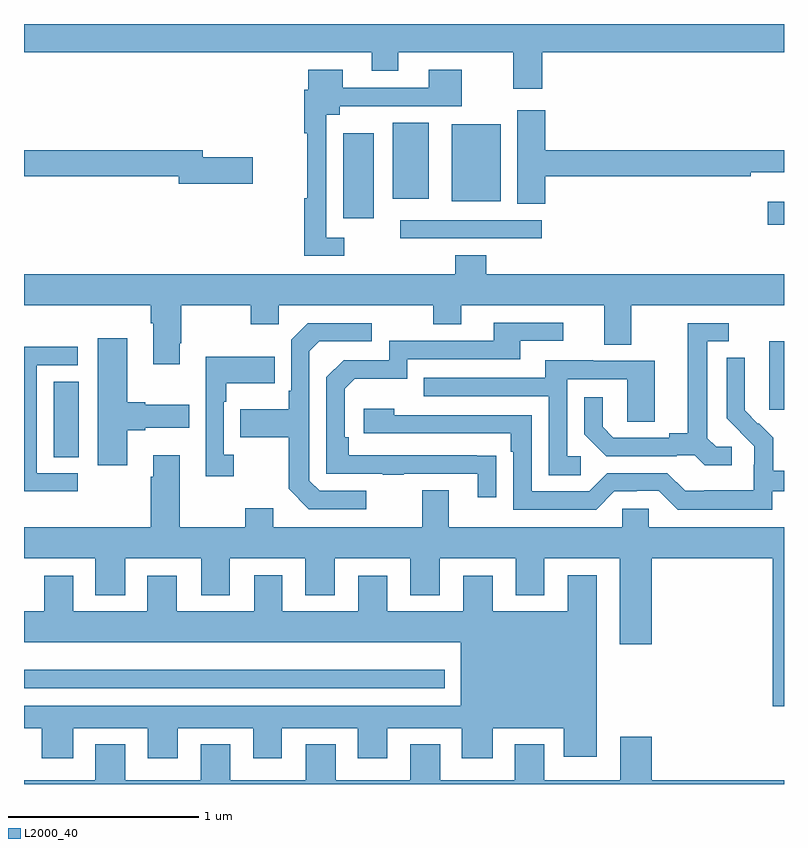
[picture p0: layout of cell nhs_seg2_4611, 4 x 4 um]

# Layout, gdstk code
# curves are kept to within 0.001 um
import gdstk
lib = gdstk.Library(unit=1e-6, precision=1e-09)
def R(c, l, rs):  # rectangles x0, y0, x1, y1
    for r in rs: c.add(gdstk.rectangle(r[:2], r[2:], *l))
def P(c, l, *ps):  # polygons
    for p in ps: c.add(gdstk.Polygon(p, *l))
L2000_40 = (2000, 40)

nhs_seg2_4611 = lib.new_cell('nhs_seg2_4611')
R(nhs_seg2_4611, L2000_40, [(361,628.305,363.214,628.402), (361.157,629.521,361.288,629.918), (364.922,629.769,365,630.13), (362.979,630.672,363.724,630.768), (364.914,630.743,365,630.865), (362.681,630.777,362.842,631.225), (363.251,630.866,363.508,631.273), (362.942,630.881,363.13,631.279)])
P(nhs_seg2_4611, L2000_40, [(363.728,631.652),(365,631.652),(365,631.8),(361,631.8),(361,631.652),(362.831,631.652),(362.831,631.553),(362.971,631.553),(362.971,631.652),(363.575,631.652),(363.575,631.458),(363.728,631.458)],
  [(362.686,630.675),(362.592,630.675),(362.592,631.322),(362.662,631.322),(362.662,631.368),(363.304,631.368),(363.304,631.558),(363.131,631.558),(363.131,631.464),(362.677,631.464),(362.677,631.558),(362.495,631.558),(362.495,631.454),(362.476,631.454),(362.476,631.226),(362.491,631.226),(362.491,630.882),(362.476,630.882),(362.476,630.579),(362.686,630.579)],
  [(363.743,631),(364.826,631),(364.826,631.02),(365,631.02),(365,631.136),(363.743,631.136),(363.743,631.345),(363.596,631.345),(363.596,630.853),(363.743,630.853)],
  [(362.203,631.1),(361.942,631.1),(361.942,631.136),(361,631.136),(361,631),(361.814,631),(361.814,630.958),(362.203,630.958)],
  [(361.819,630.121),(361.827,630.121),(361.827,630.32),(362.194,630.32),(362.194,630.221),(362.34,630.221),(362.34,630.32),(363.154,630.32),(363.154,630.221),(363.301,630.221),(363.301,630.32),(364.055,630.32),(364.055,630.112),(364.195,630.112),(364.195,630.32),(365,630.32),(365,630.484),(363.434,630.484),(363.434,630.583),(363.269,630.583),(363.269,630.484),(361,630.484),(361,630.32),(361.667,630.32),(361.667,630.224),(361.679,630.224),(361.679,630.009),(361.819,630.009)],
  [(363.485,629.528),(362.708,629.529),(362.708,629.626),(362.688,629.626),(362.688,629.88),(362.741,629.933),(363.018,629.933),(363.018,630.036),(363.613,630.036),(363.613,630.132),(363.838,630.132),(363.838,630.228),(363.473,630.228),(363.473,630.132),(362.922,630.132),(362.922,630.03),(362.682,630.03),(362.592,629.94),(362.592,629.433),(362.887,629.433),(362.887,629.428),(362.999,629.428),(362.999,629.433),(363.389,629.433),(363.389,629.31),(363.485,629.31)],
  [(362.8,629.343),(362.556,629.343),(362.502,629.397),(362.502,630.078),(362.553,630.129),(362.83,630.129),(362.83,630.225),(362.493,630.225),(362.406,630.138),(362.406,629.869),(362.394,629.869),(362.394,629.773),(362.137,629.773),(362.137,629.626),(362.394,629.626),(362.394,629.353),(362.499,629.247),(362.8,629.247)],
  [(364.726,629.574),(364.644,629.574),(364.597,629.621),(364.597,630.129),(364.708,630.129),(364.708,630.225),(364.493,630.225),(364.493,629.645),(364.397,629.645),(364.397,629.622),(364.102,629.622),(364.045,629.679),(364.045,629.836),(363.948,629.836),(363.948,629.642),(364.064,629.526),(364.436,629.526),(364.436,629.529),(364.53,629.529),(364.582,629.477),(364.726,629.477)],
  [(361.543,629.663),(361.639,629.663),(361.639,629.675),(361.87,629.675),(361.87,629.797),(361.639,629.797),(361.639,629.81),(361.543,629.81),(361.543,630.145),(361.388,630.145),(361.388,629.478),(361.543,629.478)],
  [(361.282,629.436),(361.068,629.436),(361.068,630.003),(361.282,630.003),(361.282,630.102),(361,630.102),(361,629.34),(361.282,629.34)],
  [(362.104,629.534),(362.052,629.534),(362.052,629.813),(362.065,629.813),(362.065,629.909),(362.321,629.909),(362.321,630.049),(361.956,630.049),(361.956,629.421),(362.104,629.421)],
  [(364.938,629.34),(365,629.34),(365,629.449),(364.943,629.449),(364.943,629.623),(364.866,629.7),(364.863,629.697),(364.793,629.768),(364.794,630.044),(364.698,630.044),(364.698,629.726),(364.844,629.578),(364.844,629.481),(364.842,629.481),(364.842,629.347),(364.579,629.347),(364.579,629.343),(364.479,629.343),(364.386,629.436),(364.071,629.436),(363.975,629.34),(363.672,629.34),(363.672,629.742),(362.948,629.742),(362.948,629.776),(362.787,629.776),(362.787,629.646),(363.563,629.646),(363.563,629.549),(363.576,629.549),(363.576,629.244),(364.011,629.244),(364.107,629.34),(364.226,629.34),(364.226,629.343),(364.341,629.343),(364.441,629.243),(364.938,629.243)],
  [(363.931,629.526),(363.858,629.526),(363.858,629.931),(364.176,629.931),(364.176,629.707),(364.321,629.707),(364.321,630.027),(363.997,630.027),(363.997,630.031),(363.743,630.031),(363.743,629.937),(363.103,629.937),(363.103,629.841),(363.762,629.841),(363.762,629.425),(363.931,629.425)],
  [(365,629.152),(364.287,629.152),(364.287,629.25),(364.149,629.25),(364.149,629.152),(363.235,629.152),(363.235,629.347),(363.095,629.347),(363.095,629.152),(362.311,629.152),(362.311,629.251),(362.164,629.251),(362.164,629.152),(361.819,629.152),(361.819,629.53),(361.679,629.53),(361.679,629.417),(361.667,629.417),(361.667,629.152),(361,629.152),(361,628.988),(361.376,628.988),(361.376,628.794),(361.534,628.794),(361.534,628.988),(361.934,628.988),(361.934,628.794),(362.083,628.794),(362.083,628.988),(362.48,628.988),(362.48,628.794),(362.635,628.794),(362.635,628.988),(363.032,628.988),(363.032,628.794),(363.187,628.794),(363.187,628.988),(363.587,628.988),(363.587,628.794),(363.739,628.794),(363.739,628.988),(364.136,628.988),(364.136,628.536),(364.304,628.536),(364.304,628.988),(364.94,628.988),(364.94,628.209),(365,628.209)],
  [(361.258,628.094),(361.652,628.094),(361.652,627.936),(361.81,627.936),(361.81,628.094),(362.207,628.094),(362.207,627.936),(362.356,627.936),(362.356,628.094),(362.756,628.094),(362.756,627.936),(362.911,627.936),(362.911,628.094),(363.305,628.094),(363.305,627.936),(363.466,627.936),(363.466,628.094),(363.842,628.094),(363.842,627.944),(364.015,627.944),(364.015,628.9),(363.863,628.9),(363.863,628.708),(363.466,628.708),(363.466,628.897),(363.311,628.897),(363.311,628.708),(362.911,628.708),(362.911,628.897),(362.759,628.897),(362.759,628.708),(362.359,628.708),(362.359,628.9),(362.213,628.9),(362.213,628.708),(361.804,628.708),(361.804,628.897),(361.649,628.897),(361.649,628.708),(361.258,628.708),(361.258,628.897),(361.106,628.897),(361.106,628.708),(361,628.708),(361,628.547),(363.299,628.547),(363.299,628.213),(361,628.213),(361,628.094),(361.094,628.094),(361.094,627.936),(361.258,627.936)],
  [(365,627.82),(364.304,627.82),(364.304,628.048),(364.139,628.048),(364.139,627.82),(363.739,627.82),(363.739,628.009),(363.584,628.009),(363.584,627.82),(363.19,627.82),(363.19,628.009),(363.032,628.009),(363.032,627.82),(362.641,627.82),(362.641,628.009),(362.483,628.009),(362.483,627.82),(362.086,627.82),(362.086,628.009),(361.931,628.009),(361.931,627.82),(361.534,627.82),(361.534,628.009),(361.376,628.009),(361.376,627.82),(361,627.82),(361,627.8),(365,627.8)])

lib.write_gds('nhs_seg2_4611.gds')
